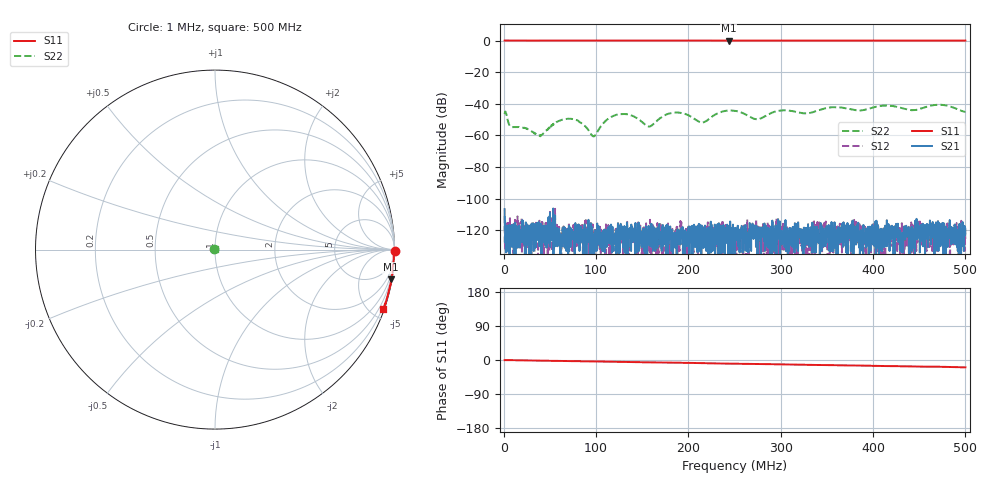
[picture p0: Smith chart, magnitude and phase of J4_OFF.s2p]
! MS46122B
! 1746301/73750021
! 8/7/2023 2:49:02 PM
! C:\USERS\SPEGWAL\DOWNLOADS\SAURABH\REACH\NODES\FRONT END\MEASUREMENTS\MEASURED S-PARAMETER_07-08-2023\MS-3\P2_J4\J4_OFF.S2P
! CHANNEL.1
! TR.MEASUREMENT
! CORRECTED.DATA
# GHZ S RI R 50.0
! FREQ.GHZ  S11RE  S11IM  S21RE  S21IM  S12RE  S12IM  S22RE  S22IM
!; PortSelection: Port_12
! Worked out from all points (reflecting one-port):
!   2001 points, 1 MHz to 500 MHz, reference 50 ohm
!   lowest |S11| = 0.0 dB at 243.5 MHz (marker M1), VSWR 373.58, Z = 19.1 - j595 ohm
!   phase of S11 starts at -0 deg and turns -19 deg over the sweep
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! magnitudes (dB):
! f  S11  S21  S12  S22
! 1 MHz  0.0  -106.5  -110.8  -46.5
! 8.236 MHz  0.0  -123.0  -122.1  -54.6
! 38.18 MHz  0.0  -115.4  -120.0  -60.0
! 63.87 MHz  0.0  -118.2  -119.0  -50.0
! 84.33 MHz  0.0  -125.4  -121.9  -52.3
! 97.31 MHz  0.0  -128.9  -130.0  -60.6
! 111.3 MHz  0.0  -128.9  -121.3  -50.3
! 123 MHz  0.0  -118.7  -124.0  -46.7
! 138.7 MHz  0.0  -126.0  -122.8  -47.4
! 156.9 MHz  0.0  -117.1  -121.9  -54.3
! 167.4 MHz  0.0  -118.4  -118.2  -50.0
! 189.4 MHz  0.0  -127.7  -120.7  -45.5
! 215.8 MHz  0.0  -122.1  -131.0  -51.8
! 243.5 MHz  0.0  -140.0  -127.0  -44.2
! 250.5 MHz  0.0  -118.9  -125.4  -44.4
! 274 MHz  0.0  -122.8  -128.9  -49.8
! 299.4 MHz  0.0  -  -123.5  -44.3
! 333.8 MHz  0.0  -125.4  -121.9  -45.5
! 416.9 MHz  0.0  -127.0  -118.3  -41.1
! 443.4 MHz  0.0  -130.0  -116.3  -44.1
! 475.1 MHz  0.0  -120.5  -121.9  -40.7
! 500 MHz  0.0  -121.9  -127.0  -45.2
